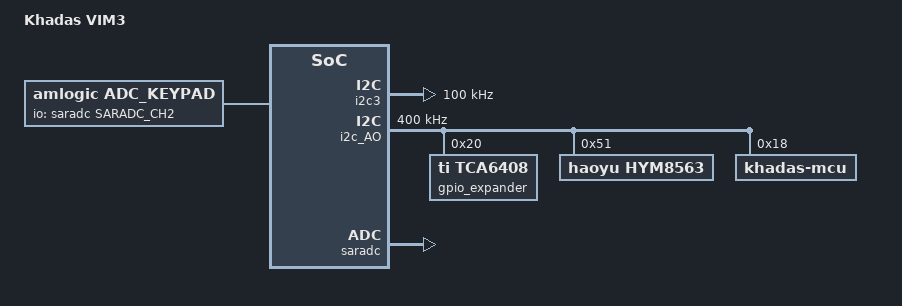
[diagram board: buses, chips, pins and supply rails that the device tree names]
#include "coreelec_g12b.dtsi"

/{
	model = "Khadas VIM3";
	amlogic-dt-id = "g12b_kvim3";
	coreelec-dt-id = "g12b_a311d_khadas_vim3";

	/delete-node/ memory@00000000;

	auge_sound {
		/delete-property/ spk_mute-gpios;
	};

	gpioleds {
		status = "okay";

		sys_led {
			gpios=<&gpio_ao GPIOAO_4 GPIO_ACTIVE_HIGH>;
			linux,default-trigger="default-on";
		};

		red_led {
			label = "red_red";
			gpios = <&gpio_expander 5 GPIO_ACTIVE_HIGH>;
			default-state ="off";
			linux,default-trigger="none";
		};
	};

	cvbsout {
		/delete-property/ clk_path;
	};

	gpio_keypad {
		key-gpios = <&gpio_ao GPIOAO_7 GPIO_ACTIVE_HIGH>;
	};

	adc_keypad {
		compatible = "amlogic, adc_keypad";
		status = "okay";
		key_name = "home";
		key_num = <1>;
		io-channels = <&saradc SARADC_CH2>;
		io-channel-names = "key-chan-2";
		key_chan = <SARADC_CH2 SARADC_CH2 SARADC_CH2>;
		key_code = <102>;
		key_val = <108>; //val=voltage/1800mV*1023
		key_tolerance = <40>;
	};

	efuse: efuse {
		compatible = "amlogic, efuse";
		read_cmd = <0x82000030>;
		write_cmd = <0x82000031>;
		get_max_cmd = <0x82000033>;
		key = <&efusekey>;
		status = "okay";
	};

	/delete-node/ efusekey;
	efusekey: efusekey {
		keynum = <1>;
		key0 = <&key_0>;
		key_0:key_0{
			keyname = "mac";
			offset = <0>;
			size = <6>;
		};
	};

	amlvecm {
		interrupts = <0 56 1>;
		interrupt-names = "vsync2";
	};

	/delete-node/ rtc;
};

&audiobus {
	aml_spdif: spdif {
		pinctrl-names = "spdif_pins", "spdif_pins_mute";
		pinctrl-0 = <&spdifout>;
		pinctrl-1 = <&spdifout_a_mute>;
	};
};

&pinctrl_periphs {
	/delete-node/ spdifout;
	/delete-node/ spdifout_a_mute;
};

&pinctrl_aobus {
	spdifout: spdifout {
		mux {
			groups = "spdif_out_ao";
			function = "spdif_out_ao";
		};
	};

	spdifout_a_mute: spdifout_a_mute {
		mux {
			groups = "GPIOAO_10";
			function = "gpio_aobus";
		};
	};
};

&i2c0 {
	/delete-property/ pinctrl-names;
	/delete-property/ pinctrl-0;
	/delete-property/ clock-frequency;
};

&i2c2 {
	status = "disabled";
	/delete-property/ pinctrl-names;
	/delete-property/ pinctrl-0;
	/delete-property/ clock-frequency;
};

&i2c3 {
	status = "okay";
	pinctrl-names="default";
	pinctrl-0=<&i2c3_master_pins2>;
	clock-frequency = <100000>;
};

&i2c_AO {
	status = "okay";
	pinctrl-names="default";
	pinctrl-0=<&ao_i2c_master_pins1>;
	clock-frequency = <400000>;

	gpio_expander: gpio-controller@20 {
		compatible = "ti,tca6408";
		reg = <0x20>;
		gpio-controller;
		#gpio-cells = <2>;
		status = "okay";
	};

	hym8563: hym8563@51 {
		compatible = "haoyu,hym8563";
		reg = <0x51>;
		#clock-cells = <0>;
	};

	khadas-mcu {
		compatible = "khadas-mcu";
		reg = <0x18>;
		fan,trig_temp_level0 = <50>;
		fan,trig_temp_level1 = <60>;
		fan,trig_temp_level2 = <70>;
		hwver = "VIM3.V11";
	};
};

&pwm_ef {
	pinctrl-names = "default";
	pinctrl-0 = <&pwm_f_pins2>;
};

&usb2_phy_v2 {
	gpio-vbus-power = "GPIOA_6";
	gpios = <&gpio GPIOA_6 GPIO_ACTIVE_HIGH>;
};

&usb3_phy_v2 {
	/delete-property/ gpio-vbus-power;
	/delete-property/ gpios;
	otg = <1>;
};

&pcie_A {
	reset-gpio = <&gpio GPIOA_8 GPIO_ACTIVE_HIGH>;
	status = "disabled";
};

&saradc {
	status = "okay";
};
